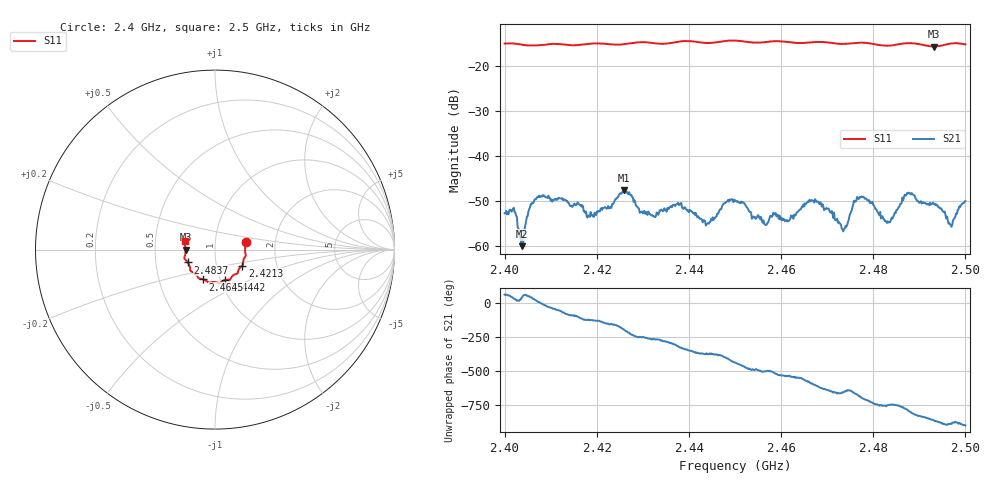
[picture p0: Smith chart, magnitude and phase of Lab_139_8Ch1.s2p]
# Hz S RI R 50
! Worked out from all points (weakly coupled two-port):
!   601 points, 2.4 GHz to 2.5 GHz, reference 50 ohm
!   highest |S21| = -47.57 dB at 2.4258 GHz (marker M1); lowest = -60.1 dB at 2.4037 GHz (marker M2)
!   lowest |S11| = -15.7 dB at 2.4932 GHz (marker M3), VSWR 1.39, Z = 36 - j0.0547 ohm
!   |S11| at or under -10 dB: start of sweep to end of sweep
!   S12 and S22 are empty: the file has one direction only
!   S11 on the Smith chart (normalised r, x): 2.4 GHz: 1.41, +0.12; 2.4213 GHz: 1.33, -0.25; 2.4442 GHz: 1.05, -0.37; 2.4645 GHz: 0.83, -0.29; 2.4837 GHz: 0.73, -0.11; 2.5 GHz: 0.71, +0.07
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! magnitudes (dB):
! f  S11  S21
! 2.4 GHz  -15.1  -52.8
! 2.4022 GHz  -15.1  -52.6
! 2.4037 GHz  -15.3  -60.1
! 2.407 GHz  -15.5  -49.3
! 2.4167 GHz  -15.3  -51.3
! 2.4213 GHz  -15.1  -51.6
! 2.4258 GHz  -15.2  -47.6
! 2.4333 GHz  -15.1  -53.1
! 2.4378 GHz  -14.6  -51.0
! 2.4442 GHz  -15.0  -54.9
! 2.45 GHz  -14.4  -49.9
! 2.4565 GHz  -14.8  -55.3
! 2.4645 GHz  -15.0  -51.3
! 2.4667 GHz  -14.8  -49.8
! 2.4737 GHz  -15.1  -56.2
! 2.4775 GHz  -14.9  -49.0
! 2.4833 GHz  -15.6  -54.8
! 2.4837 GHz  -15.5  -54.7
! 2.4873 GHz  -15.0  -48.3
! 2.4932 GHz  -15.7  -50.7
! 2.4968 GHz  -15.1  -55.5
! 2.5 GHz  -15.3  -50.0
